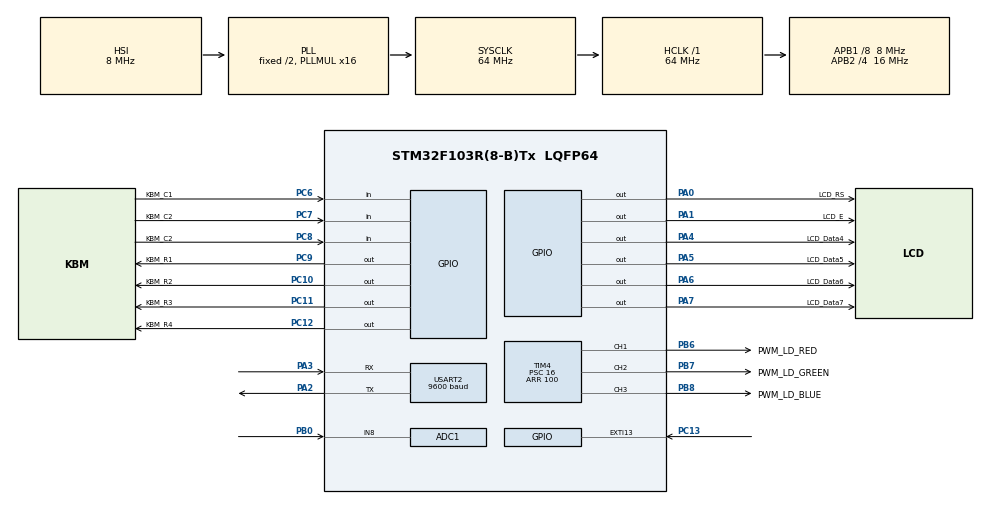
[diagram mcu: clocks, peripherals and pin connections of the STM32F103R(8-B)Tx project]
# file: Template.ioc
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ADC1.Channel-0\#ChannelRegularConversion=ADC_CHANNEL_TEMPSENSOR
ADC1.Channel-1\#ChannelRegularConversion=ADC_CHANNEL_VREFINT
ADC1.Channel-2\#ChannelRegularConversion=ADC_CHANNEL_8
ADC1.ContinuousConvMode=ENABLE
ADC1.DataAlign=ADC_DATAALIGN_RIGHT
ADC1.DiscontinuousConvMode=DISABLE
ADC1.EnableAnalogWatchDog=false
ADC1.EnableRegularConversion=ENABLE
ADC1.ExternalTrigConv=ADC_SOFTWARE_START
ADC1.InjNumberOfConversion=0
ADC1.NbrOfConversion=3
ADC1.NbrOfConversionFlag=1
ADC1.Rank-0\#ChannelRegularConversion=1
ADC1.Rank-1\#ChannelRegularConversion=2
ADC1.Rank-2\#ChannelRegularConversion=3
ADC1.SamplingTime-0\#ChannelRegularConversion=ADC_SAMPLETIME_239CYCLES_5
ADC1.SamplingTime-1\#ChannelRegularConversion=ADC_SAMPLETIME_239CYCLES_5
ADC1.SamplingTime-2\#ChannelRegularConversion=ADC_SAMPLETIME_239CYCLES_5
ADC1.ScanConvMode=ADC_SCAN_ENABLE
ADC1.master=1
Dma.ADC1.0.Direction=DMA_PERIPH_TO_MEMORY
Dma.ADC1.0.Instance=DMA1_Channel1
Dma.ADC1.0.MemDataAlignment=DMA_MDATAALIGN_WORD
Dma.ADC1.0.MemInc=DMA_MINC_ENABLE
Dma.ADC1.0.Mode=DMA_CIRCULAR
Dma.ADC1.0.PeriphDataAlignment=DMA_PDATAALIGN_WORD
Dma.ADC1.0.PeriphInc=DMA_PINC_DISABLE
Dma.ADC1.0.Priority=DMA_PRIORITY_MEDIUM
Dma.Request0=ADC1
Mcu.Family=STM32F1
Mcu.Name=STM32F103R(8-B)Tx
Mcu.Package=LQFP64
NVIC.ADC1_2_IRQn=true\:0\:0\:false\:false\:true\:true
NVIC.DMA1_Channel1_IRQn=true\:0\:0\:false\:false\:true\:false
NVIC.EXTI15_10_IRQn=true\:0\:0\:true\:false\:true\:true
NVIC.PriorityGroup=NVIC_PRIORITYGROUP_4
NVIC.USART2_IRQn=true\:0\:0\:false\:false\:true\:true
PA0-WKUP.GPIO_Label=LCD_RS
PA0-WKUP.Signal=GPIO_Output
PA1.GPIO_Label=LCD_E
PA1.Signal=GPIO_Output
PA13.GPIO_Label=TMS
PA13.Mode=Serial_Wire
PA13.Signal=SYS_JTMS-SWDIO
PA14.GPIO_Label=TCK
PA14.Mode=Serial_Wire
PA14.Signal=SYS_JTCK-SWCLK
PA2.Mode=Asynchronous
PA2.Signal=USART2_TX
PA3.Mode=Asynchronous
PA3.Signal=USART2_RX
PA4.GPIO_Label=LCD_Data4
PA4.Signal=GPIO_Output
PA5.GPIO_Label=LCD_Data5
PA5.Signal=GPIO_Output
PA6.GPIO_Label=LCD_Data6
PA6.Signal=GPIO_Output
PA7.GPIO_Label=LCD_Data7
PA7.Signal=GPIO_Output
PB0.Signal=ADCx_IN8
PB3.GPIO_Label=SWO
PB3.Signal=SYS_JTDO-TRACESWO
PB6.GPIO_Label=PWM_LD_RED
PB6.GPIO_Speed=GPIO_SPEED_FREQ_HIGH
PB6.Signal=S_TIM4_CH1
PB7.GPIO_Label=PWM_LD_GREEN
PB7.GPIO_Speed=GPIO_SPEED_FREQ_HIGH
PB7.Signal=S_TIM4_CH2
PB8.GPIO_Label=PWM_LD_BLUE
PB8.GPIO_Speed=GPIO_SPEED_FREQ_HIGH
PB8.Signal=S_TIM4_CH3
PC10.GPIO_Label=KBM_R2
PC10.Signal=GPIO_Output
PC11.GPIO_Label=KBM_R3
PC11.Signal=GPIO_Output
PC12.GPIO_Label=KBM_R4
PC12.GPIO_ModeDefaultOutputPP=GPIO_MODE_OUTPUT_PP
PC12.GPIO_PuPd=GPIO_NOPULL
PC12.GPIO_Speed=GPIO_SPEED_FREQ_LOW
PC12.PinState=GPIO_PIN_RESET
PC12.Signal=GPIO_Output
PC13-TAMPER-RTC.GPIO_ModeDefaultEXTI=GPIO_MODE_IT_FALLING
PC13-TAMPER-RTC.Signal=GPXTI13
PC14-OSC32_IN.Mode=LSE-External-Oscillator
PC14-OSC32_IN.Signal=RCC_OSC32_IN
PC15-OSC32_OUT.Mode=LSE-External-Oscillator
PC15-OSC32_OUT.Signal=RCC_OSC32_OUT
PC6.GPIO_Label=KBM_C1
PC6.Signal=GPIO_Input
PC7.GPIO_Label=KBM_C2
PC7.Signal=GPIO_Input
PC8.GPIO_Label=KBM_C2
PC8.Signal=GPIO_Input
PC9.GPIO_Label=KBM_R1
PC9.Signal=GPIO_Output
PD0-OSC_IN.Mode=HSE-External-Clock-Source
PD0-OSC_IN.Signal=RCC_OSC_IN
PD1-OSC_OUT.Mode=HSE-External-Clock-Source
PD1-OSC_OUT.Signal=RCC_OSC_OUT
ProjectManager.HeapSize=0x200
ProjectManager.StackSize=0x400
ProjectManager.TargetToolchain=Makefile
RCC.ADCPresc=RCC_ADCPCLK2_DIV8
RCC.AHBFreq_Value=64000000
RCC.APB1CLKDivider=RCC_HCLK_DIV8
RCC.APB1Freq_Value=8000000
RCC.APB1TimFreq_Value=16000000
RCC.APB2CLKDivider=RCC_HCLK_DIV4
RCC.APB2Freq_Value=16000000
RCC.APB2TimFreq_Value=32000000
RCC.HCLKFreq_Value=64000000
RCC.PLLMUL=RCC_PLL_MUL16
RCC.SYSCLKFreq_VALUE=64000000
RCC.SYSCLKSource=RCC_SYSCLKSOURCE_PLLCLK
RCC.USBFreq_Value=64000000
RTC.Format=RTC_FORMAT_BIN
SH.ADCx_IN8.0=ADC1_IN8,IN8
SH.S_TIM4_CH1.0=TIM4_CH1,PWM Generation1 CH1
SH.S_TIM4_CH2.0=TIM4_CH2,PWM Generation2 CH2
SH.S_TIM4_CH3.0=TIM4_CH3,PWM Generation3 CH3
TIM4.Channel-PWM\ Generation1\ CH1=TIM_CHANNEL_1
TIM4.Channel-PWM\ Generation2\ CH2=TIM_CHANNEL_2
TIM4.Channel-PWM\ Generation3\ CH3=TIM_CHANNEL_3
TIM4.Period=100
TIM4.Prescaler=16
TIM4.Pulse-PWM\ Generation2\ CH2=0
TIM4.Pulse-PWM\ Generation3\ CH3=0
USART2.BaudRate=9600
USART2.VirtualMode=VM_ASYNC
VP_ADC1_TempSens_Input.Mode=IN-TempSens
VP_ADC1_Vref_Input.Mode=IN-Vrefint
VP_RTC_VS_RTC_Activate.Mode=RTC_Enabled
VP_RTC_VS_RTC_Calendar.Mode=RTC_Calendar
VP_TIM4_VS_ClockSourceINT.Mode=Internal
board=NUCLEO-F103RB

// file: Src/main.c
/**
  ******************************************************************************
  * @file           : main.c
  * @brief          : Main program body
  ******************************************************************************
  ** This notice applies to any and all portions of this file
  * that are not between comment pairs USER CODE BEGIN and
  * USER CODE END. Other portions of this file, whether
  * inserted by the user or by software development tools
  * are owned by their respective copyright owners.
  *
  * COPYRIGHT(c) 2018 STMicroelectronics
  *
  * Redistribution and use in source and binary forms, with or without modification,
  * are permitted provided that the following conditions are met:
  *   1. Redistributions of source code must retain the above copyright notice,
  *      this list of conditions and the following disclaimer.
  *   2. Redistributions in binary form must reproduce the above copyright notice,
  *      this list of conditions and the following disclaimer in the documentation
  *      and/or other materials provided with the distribution.
  *   3. Neither the name of STMicroelectronics nor the names of its contributors
  *      may be used to endorse or promote products derived from this software
  *      without specific prior written permission.
  *
  * THIS SOFTWARE IS PROVIDED BY THE COPYRIGHT HOLDERS AND CONTRIBUTORS "AS IS"
  * AND ANY EXPRESS OR IMPLIED WARRANTIES, INCLUDING, BUT NOT LIMITED TO, THE
  * IMPLIED WARRANTIES OF MERCHANTABILITY AND FITNESS FOR A PARTICULAR PURPOSE ARE
  * DISCLAIMED. IN NO EVENT SHALL THE COPYRIGHT HOLDER OR CONTRIBUTORS BE LIABLE
  * FOR ANY DIRECT, INDIRECT, INCIDENTAL, SPECIAL, EXEMPLARY, OR CONSEQUENTIAL
  * DAMAGES (INCLUDING, BUT NOT LIMITED TO, PROCUREMENT OF SUBSTITUTE GOODS OR
  * SERVICES; LOSS OF USE, DATA, OR PROFITS; OR BUSINESS INTERRUPTION) HOWEVER
  * CAUSED AND ON ANY THEORY OF LIABILITY, WHETHER IN CONTRACT, STRICT LIABILITY,
  * OR TORT (INCLUDING NEGLIGENCE OR OTHERWISE) ARISING IN ANY WAY OUT OF THE USE
  * OF THIS SOFTWARE, EVEN IF ADVISED OF THE POSSIBILITY OF SUCH DAMAGE.
  *
  ******************************************************************************
  */
#include "main.h"
#include "stm32f1xx_hal.h"
#include "adc.h"
#include "dma.h"
#include "rtc.h"
#include "tim.h"
#include "usart.h"
#include "gpio.h"

/* USER CODE BEGIN Includes */
#include "rgb.h"
#include "keyboard_matrix.h"
#include "itoa.h"
#include "lcd.h"

/* USER CODE END Includes */

/* USER CODE BEGIN PV */
/* Private variables ---------------------------------------------------------*/

struct buffer_s
{
  char *buffer;
  uint16_t tmpbuff;
  uint8_t index;
  uint8_t size;
  uint8_t rxdone;
};
struct buffer_s uartRxBuffer;
uint16_t adc_raw;
uint16_t Vpot;
uint8_t dma_done;

struct rgb_t rgbValue;
const char getR[] = "\n\rRED:";
const char getG[] = "\n\rGREEN:";
const char getB[] = "\n\rBLUE:";

uint8_t refresh_display;

/* USER CODE END PV */

void SystemClock_Config(void);

/* USER CODE BEGIN PFP */
/* Private function prototypes -----------------------------------------------*/
void display_rgb_values();
/* USER CODE END PFP */

/* USER CODE BEGIN 0 */
// void HAL_ADC_ConvCpltCallback(ADC_HandleTypeDef *adchandle){
//     adc_raw = adchandle->Instance->DR;
//     Vpot = (3300 * adc_raw) / 4095;
// }
void HAL_UART_RxCpltCallback(UART_HandleTypeDef *huart)
{
  if (uartRxBuffer.tmpbuff == 13)
  {
    // Terminate buffer
    uartRxBuffer.buffer[uartRxBuffer.index] = 0;
    uartRxBuffer.rxdone = 1;
  }
  else
  {
    if (uartRxBuffer.tmpbuff < 58 && uartRxBuffer.tmpbuff > 47)
    {
      if (uartRxBuffer.index < uartRxBuffer.size)
      {
        uartRxBuffer.buffer[uartRxBuffer.index] = (uint8_t)uartRxBuffer.tmpbuff;
        HAL_UART_Transmit(&huart2, &(uartRxBuffer.buffer[uartRxBuffer.index]), 1, 10);
        uartRxBuffer.index++;
      }
    }
    HAL_UART_Receive_IT(&huart2, &uartRxBuffer.tmpbuff, 1);
  }
}

void adcdmaCallBack(DMA_HandleTypeDef dma)
{
  dma_done = 1;
}
// GPIO Interupt handler routine
void HAL_GPIO_EXTI_Callback(uint16_t GPIO_Pin){
  if(GPIO_Pin == USR_BTN_GPIOPIN){

  }
}
/* USER CODE END 0 */

int main(void)
{
  /* USER CODE BEGIN 1 */

  //Init uartRX buffer
  uint8_t rxBuffer[4];
  uartRxBuffer.buffer = &rxBuffer[0];
  uartRxBuffer.index = 0;
  uartRxBuffer.size = sizeof(rxBuffer);
  uartRxBuffer.rxdone = 0;

  // Struct hold pwm values for driving an rgb led
  rgbValue.red = 0;
  rgbValue.green = 0;
  rgbValue.blue = 0;
  rgbValue.index = 0;

  refresh_display = 0;
  /* USER CODE END 1 */

  /* MCU Configuration----------------------------------------------------------*/

  /* Reset of all peripherals, Initializes the Flash interface and the Systick. */
  HAL_Init();

  /* Configure the system clock */
  SystemClock_Config();

  /* Initialize all configured peripherals */
  MX_GPIO_Init();
  MX_DMA_Init();
  MX_USART2_UART_Init();
  MX_TIM4_Init();
  MX_ADC1_Init();
  MX_RTC_Init();
  /* USER CODE BEGIN 2 */
  rgb_init_start(&htim4);
  kbm_init();
  LCD_Init();
  HAL_UART_Transmit(&huart2, getR, sizeof(getR), 500);
  LCD_String_xy(0, 0, "RGB LED VALUES");
  LCD_String_xy(1, 0, "RED: ");
  LCD_String_xy(2, 0, "GREEN: ");
  LCD_String_xy(3, 0, "BLUE: ");
  display_rgb_values();
  //HAL_ADC_Start_IT(&hadc1);
  uint32_t dma_buffer[3];
  //HAL_DMA_RegisterCallback(&hdma_adc1, HAL_DMA_XFER_CPLT_CB_ID, adcdmaCallBack);
  HAL_ADC_Start_DMA(&hadc1, dma_buffer, 3);
  uint16_t ch8, temp, Vin;
  RTC_TimeTypeDef time;
  RTC_DateTypeDef date;

  date.WeekDay = RTC_WEEKDAY_SATURDAY;
  date.Year = 18;
  date.Month = 12;
  date.Date = 2;
  time.Hours = 11;
  time.Minutes = 41;
  time.Seconds = 0;
  HAL_RTC_SetTime(&hrtc, &time, RTC_FORMAT_BIN);
  HAL_RTC_SetDate(&hrtc, &date, RTC_FORMAT_BIN);
  HAL_UART_Receive_IT(&huart2, &(uartRxBuffer.tmpbuff), 1);

  /* USER CODE END 2 */

  /* Infinite loop */
  /* USER CODE BEGIN WHILE */
  while (1)
  {
    //RTC READ
    //HAL_RTC_GetDate(&hrtc, &date, RTC_FORMAT_BIN);
    //HAL_RTC_GetTime(&hrtc, &time, RTC_FORMAT_BIN);
    // HAL_Delay(1000);
    if (uartRxBuffer.rxdone != 0)
    {
      switch (rgbValue.index)
      {
      case 0:
      {
        if (uartRxBuffer.buffer[0] != 0)
        {
          uint8_t tmp = atoi_(uartRxBuffer.buffer);
          tmp = tmp % 100;
          rgbValue.red = tmp;
          rgb_set(&htim4, &rgbValue);
        }
        HAL_UART_Transmit(&huart2, getG, sizeof(getG), 500);
        rgbValue.index++;
        uartRxBuffer.rxdone = 0;
        uartRxBuffer.index = 0;
        HAL_UART_Receive_IT(&huart2, &(uartRxBuffer.tmpbuff), 1);
        break;
      }
      case 1:
      {
        if (uartRxBuffer.buffer[0] != 0)
        {
          uint8_t tmp = atoi_(uartRxBuffer.buffer);
          tmp = tmp % 100;
          rgbValue.green = tmp;
          rgb_set(&htim4, &rgbValue);
        }
        HAL_UART_Transmit(&huart2, getB, sizeof(getB), 500);
        rgbValue.index++;
        uartRxBuffer.rxdone = 0;
        uartRxBuffer.index = 0;
        HAL_UART_Receive_IT(&huart2, &(uartRxBuffer.tmpbuff), 1);
        break;
      }
      case 2:
      {
        if (uartRxBuffer.buffer[0] != 0)
        {
          uint8_t tmp = atoi_(uartRxBuffer.buffer);
          tmp = tmp % 100;
          rgbValue.blue = tmp;
          rgb_set(&htim4, &rgbValue);
        }
        HAL_UART_Transmit(&huart2, getR, sizeof(getR), 500);
        rgbValue.index = 0;
        uartRxBuffer.rxdone = 0;
        uartRxBuffer.index = 0;
        HAL_UART_Receive_IT(&huart2, &(uartRxBuffer.tmpbuff), 1);
        break;
      }
      default:
      {
        break;
      }
      }
      refresh_display = 1;
    }
    // KBM
    if (!(HAL_GetTick() % 100))
    {
      uint8_t press_key = kbm_getValue((uint8_t)0);
      if (press_key != 0xFF)
      {
        switch (press_key)
        {
        case 1:
          rgbValue.red--;
          rgb_set(&htim4, &rgbValue);
          break;
        case 7:
          rgbValue.red++;
          rgb_set(&htim4, &rgbValue);
          break;
        case 2:
          rgbValue.green--;
          rgb_set(&htim4, &rgbValue);
          break;
        case 8:
          rgbValue.green++;
          rgb_set(&htim4, &rgbValue);
          break;
        case 3:
          rgbValue.blue--;
          rgb_set(&htim4, &rgbValue);
          break;
        case 9:
          rgbValue.blue++;
          rgb_set(&htim4, &rgbValue);
          break;

        default:
          break;
        }
        refresh_display = 1;
      }
    }
    if (refresh_display)
    {
      display_rgb_values();
      refresh_display = 0;
    }
    //ADC Polling mode
    // HAL_ADC_Start(&hadc1);
    // HAL_ADC_PollForConversion(&hadc1, 100);
    // temp = HAL_ADC_GetValue(&hadc1);
    // HAL_Delay(100);
    // HAL_ADC_PollForConversion(&hadc1, 100);
    // Vin = HAL_ADC_GetValue(&hadc1);
    // HAL_Delay(100);
    // HAL_ADC_PollForConversion(&hadc1, 100);
    // ch8 = HAL_ADC_GetValue(&hadc1);
    // HAL_ADC_Stop(&hadc1);
  /* USER CODE END WHILE */

  }

}

void SystemClock_Config(void)
{

  RCC_OscInitTypeDef RCC_OscInitStruct;
  RCC_ClkInitTypeDef RCC_ClkInitStruct;
  RCC_PeriphCLKInitTypeDef PeriphClkInit;

    /**Initializes the CPU, AHB and APB busses clocks
    */
  RCC_OscInitStruct.OscillatorType = RCC_OSCILLATORTYPE_HSI|RCC_OSCILLATORTYPE_LSI;
  RCC_OscInitStruct.HSIState = RCC_HSI_ON;
  RCC_OscInitStruct.HSICalibrationValue = 16;
  RCC_OscInitStruct.LSIState = RCC_LSI_ON;
  RCC_OscInitStruct.PLL.PLLState = RCC_PLL_ON;
  RCC_OscInitStruct.PLL.PLLSource = RCC_PLLSOURCE_HSI_DIV2;
  RCC_OscInitStruct.PLL.PLLMUL = RCC_PLL_MUL16;
  if (HAL_RCC_OscConfig(&RCC_OscInitStruct) != HAL_OK)
  {
    _Error_Handler(__FILE__, __LINE__);
  }

    /**Initializes the CPU, AHB and APB busses clocks
    */
  RCC_ClkInitStruct.ClockType = RCC_CLOCKTYPE_HCLK|RCC_CLOCKTYPE_SYSCLK
                              |RCC_CLOCKTYPE_PCLK1|RCC_CLOCKTYPE_PCLK2;
  RCC_ClkInitStruct.SYSCLKSource = RCC_SYSCLKSOURCE_PLLCLK;
  RCC_ClkInitStruct.AHBCLKDivider = RCC_SYSCLK_DIV1;
  RCC_ClkInitStruct.APB1CLKDivider = RCC_HCLK_DIV8;
  RCC_ClkInitStruct.APB2CLKDivider = RCC_HCLK_DIV4;

  if (HAL_RCC_ClockConfig(&RCC_ClkInitStruct, FLASH_LATENCY_2) != HAL_OK)
  {
    _Error_Handler(__FILE__, __LINE__);
  }

  PeriphClkInit.PeriphClockSelection = RCC_PERIPHCLK_RTC|RCC_PERIPHCLK_ADC;
  PeriphClkInit.RTCClockSelection = RCC_RTCCLKSOURCE_LSI;
  PeriphClkInit.AdcClockSelection = RCC_ADCPCLK2_DIV8;
  if (HAL_RCCEx_PeriphCLKConfig(&PeriphClkInit) != HAL_OK)
  {
    _Error_Handler(__FILE__, __LINE__);
  }

    /**Configure the Systick interrupt time
    */
  HAL_SYSTICK_Config(HAL_RCC_GetHCLKFreq()/1000);

    /**Configure the Systick
    */
  HAL_SYSTICK_CLKSourceConfig(SYSTICK_CLKSOURCE_HCLK);

  /* SysTick_IRQn interrupt configuration */
  HAL_NVIC_SetPriority(SysTick_IRQn, 0, 0);
}

/* USER CODE BEGIN 4 */
void display_rgb_values()
{
  char red_str[4];
  char green_str[4];
  char blue_str[4];
  uint8_to_str(red_str, rgbValue.red);
  uint8_to_str(green_str, rgbValue.green);
  uint8_to_str(blue_str, rgbValue.blue);
  LCD_Clear_xy(1, 5, 3);
  LCD_String_xy(1, 5, red_str);
  //LCD_String(red_str);
  LCD_Clear_xy(2, 6, 3);
  LCD_String_xy(2, 6, green_str);
  //LCD_String(green_str);
  LCD_Clear_xy(3, 5, 3);
  LCD_String_xy(3, 5, blue_str);
  //LCD_String(blue_str);
}
/* USER CODE END 4 */

void _Error_Handler(char *file, int line)
{
  while (1)
  {
  }
}

/************************ (C) COPYRIGHT STMicroelectronics *****END OF FILE****/
